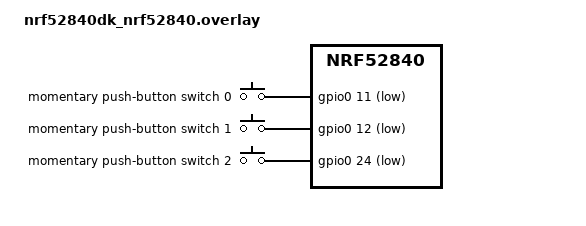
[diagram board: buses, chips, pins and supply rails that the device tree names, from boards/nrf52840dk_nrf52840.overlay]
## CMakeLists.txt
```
cmake_minimum_required(VERSION 3.20.0)

set(
    CPPCHECK_VERBATIM_EXTRA_ARGS
    "--suppress=*:*deps/*"
)

include(${CMAKE_CURRENT_LIST_DIR}/codechecker.cmake)
find_package(Zephyr REQUIRED HINTS $ENV{ZEPHYR_BASE})
include(${CMAKE_CURRENT_LIST_DIR}/cppcheck.cmake)

project(
    ScaDemo
    VERSION 0.1
    DESCRIPTION "ScaDemo."
)

target_sources(
    app
    PRIVATE
    src/foo.c
    src/bar.c
    src/baz.c
    src/main.c
)
```

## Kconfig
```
# Application Kconfig entry point.

menu "Zephyr"
source "Kconfig.zephyr"
endmenu

module = APP
module-str = APP
source "subsys/logging/Kconfig.template.log_config"
```

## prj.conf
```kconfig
# prj.conf is usually used for debugging.
# The build type prj_release.conf is typically used for release builds.
# Thus, we can explicitly enable debugging for better step debugging.

# Enable kernel debugging, this also sets CONFIG_DEBUG_OPTIMIZATIONS.
CONFIG_DEBUG=y
# Build for debugging by default.
CONFIG_DEBUG_OPTIMIZATIONS=y
# Enable assertions
CONFIG_ASSERT=y

# CPP support
CONFIG_CPP=y
CONFIG_STD_CPP17=y

# Logging
CONFIG_LOG=n
CONFIG_LOG_MODE_MINIMAL=y

# Input subsystem
CONFIG_INPUT=y
# CONFIG_INPUT_EVENT_DUMP=y
# Input longpress subsystem
# CONFIG_INPUT_LONGPRESS=y

# Don't build the DK library
CONFIG_DK_LIBRARY=n
```

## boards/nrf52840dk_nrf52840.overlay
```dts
/ {
  chosen {
  };

  buttons: buttons {
    compatible = "gpio-keys";
    button0: button_0 {
      gpios = <&gpio0 11 (GPIO_PULL_UP | GPIO_ACTIVE_LOW)>;
      label = "momentary push-button switch 0";
      zephyr,code = <INPUT_KEY_0>;
    };
    button1: button_1 {
      gpios = <&gpio0 12 (GPIO_PULL_UP | GPIO_ACTIVE_LOW)>;
      label = "momentary push-button switch 1";
      zephyr,code = <INPUT_KEY_1>;
    };
    button2: button_2 {
			gpios = <&gpio0 24 (GPIO_PULL_UP | GPIO_ACTIVE_LOW)>;
			label = "momentary push-button switch 2";
			zephyr,code = < 0x3 >;
		};

    /*
     * We can't delete nodes we can only delete properties.
     * We can, however, set the status of a node to 'disabled' such that it isn't used by a driver.
     */
		button3: button_3 {
      status = "disabled";
		};
  };
};
```

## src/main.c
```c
#include <zephyr/drivers/gpio.h>
#include <zephyr/input/input.h>
#include <zephyr/kernel.h>

#include <zephyr/logging/log.h>
LOG_MODULE_DECLARE(app, LOG_LEVEL_DBG);

/***************************************************************************************************
 * Definitions
 **************************************************************************************************/

#define SLEEP_TIME_MS 1000U

static void prv_input_cb_all(struct input_event *evt, void *user_data);

int foo(void);
int bar(int arg);
int baz(int arg);

/***************************************************************************************************
 * Data
 **************************************************************************************************/

static const struct device *const buttons_dev = DEVICE_DT_GET(DT_NODELABEL(buttons));

static const struct gpio_dt_spec led0 = GPIO_DT_SPEC_GET(DT_ALIAS(led0), gpios);
static const struct gpio_dt_spec led1 = GPIO_DT_SPEC_GET(DT_ALIAS(led1), gpios);

INPUT_CALLBACK_DEFINE(NULL, prv_input_cb_all, NULL);

/***************************************************************************************************
 * Functions
 **************************************************************************************************/

static void unused_function(void)
{
	LOG_DBG("oh, my");
}

static void prv_input_cb_all(struct input_event *evt, void *user_data)
{
	__ASSERT_NO_MSG(evt != NULL);
	(void)user_data;

	LOG_DBG("INPUT %s, zephyr_code=%u, value=%d\n", evt->dev->name, evt->code, evt->value);
}

static void prv_cfg_led(const struct gpio_dt_spec *spec)
{
	bool ready = gpio_is_ready_dt(spec);
	__ASSERT_NO_MSG(ready);

	int ret = gpio_pin_configure_dt(spec, GPIO_OUTPUT_ACTIVE);
	__ASSERT_NO_MSG(ret >= 0);

	ret = gpio_pin_set_dt(spec, 0);
	__ASSERT_NO_MSG(ret >= 0);
}

int main(void)
{
	prv_cfg_led(&led0);
	prv_cfg_led(&led1);

	return foo() + bar(-1) + baz(-2);

	while (1)
	{
		k_msleep(SLEEP_TIME_MS);
	}
}
```

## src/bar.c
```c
/*
 * In contrast to `foo.c` this file does not include
 * the sometimes problematic `<zephyr/kernel.h>`.
 */
// #include <zephyr/kernel.h>

int bar(int arg)
{
    char a[10];
    a[10] = 0 / 0;
    return 0;
}
```

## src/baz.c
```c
#include <stdlib.h>

int baz(int arg)
{
    char *a = malloc(10);
    a[arg]  = 0;
    return 0;
}
```

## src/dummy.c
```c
#include <zephyr/kernel.h>

int dummy_fn(void)
{
	char a[10];
	a[10] = 0;
	return 0;
}
```

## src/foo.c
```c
/*
 * We're perfectly aware that the `zephyr/kernel.h` is not needed by this unit.
 * This include has been added for demonstration purposes and to ensure that
 * static analyzers work even with `<zephyr/kernel.h>` included - which did
 * cause problems in the past.
 */
#include <zephyr/kernel.h>

int foo(void)
{
    char a[10];
    a[10] = 0 / 0;
    return 0;
}
```
